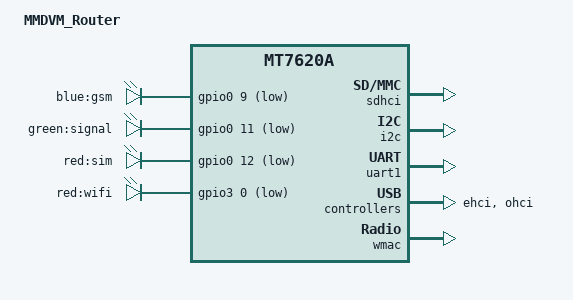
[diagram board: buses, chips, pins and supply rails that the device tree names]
// SPDX-License-Identifier: GPL-2.0-or-later OR MIT

#include "mt7620a_zbtlink_zbt-we826.dtsi"

/ {
	compatible = "zbtlink,zbt-we826-e", "zbtlink,zbt-we826", "ralink,mt7620a-soc";
	model = "MMDVM_Router";

	/delete-node/ leds;

	leds {
		compatible = "gpio-leds";

		led_power: gsm {
			label = "blue:gsm";
			gpios = <&gpio0 9 GPIO_ACTIVE_LOW>;
		};

		signal {
			label = "green:signal";
			gpios = <&gpio0 11 GPIO_ACTIVE_LOW>;
		};

		sim {
			label = "red:sim";
			gpios = <&gpio0 12 GPIO_ACTIVE_LOW>;
		};

		air {
			label = "red:wifi";
			gpios = <&gpio3 0 GPIO_ACTIVE_LOW>;
		};
	};
};

&flash0 {
	broken-flash-reset;
};

&firmware {
	reg = <0x50000 0x1fb0000>;
};

&state_default {
	gpio {
		groups = "gpio", "i2c", "i2s", "refclk", "wdt", "wled_an";
		function = "gpio";
	};
};

&sdhci {
	status = "okay";
	mediatek,cd-low;
	
};

&i2c {
	status = "okay";
};

&uart1 {
	status = "okay";
};

&ehci {
	status = "okay";
	
};

&ohci {
	status = "okay";
	
};

&wmac {
	status = "okay";
};
